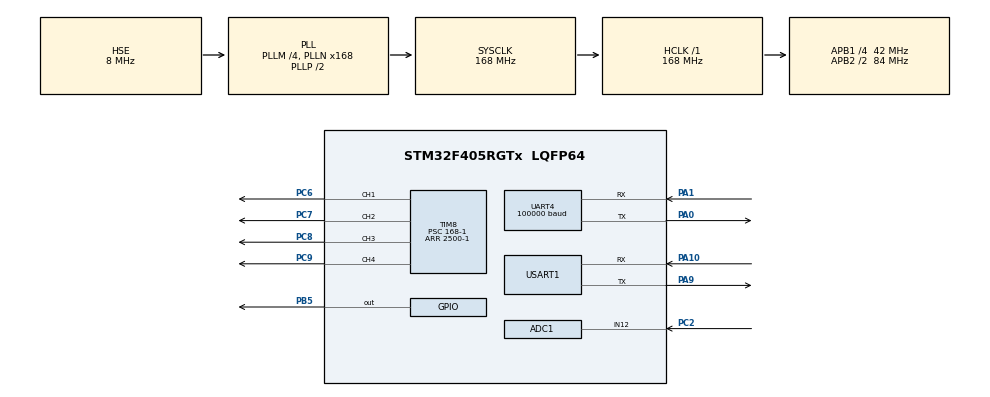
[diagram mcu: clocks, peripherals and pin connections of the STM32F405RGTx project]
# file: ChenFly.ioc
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ADC1.Channel-5\#ChannelRegularConversion=ADC_CHANNEL_12
ADC1.NbrOfConversionFlag=1
ADC1.Rank-5\#ChannelRegularConversion=1
ADC1.SamplingTime-5\#ChannelRegularConversion=ADC_SAMPLETIME_3CYCLES
ADC1.master=1
Mcu.Family=STM32F4
Mcu.Name=STM32F405RGTx
Mcu.Package=LQFP64
NVIC.PriorityGroup=NVIC_PRIORITYGROUP_4
NVIC.UART4_IRQn=true\:0\:0\:false\:false\:true\:true\:true
NVIC.USART1_IRQn=true\:0\:0\:false\:false\:true\:true\:true
PA0-WKUP.GPIO_PuPd=GPIO_NOPULL
PA0-WKUP.Mode=Asynchronous
PA0-WKUP.Signal=UART4_TX
PA1.GPIO_PuPd=GPIO_PULLUP
PA1.Mode=Asynchronous
PA1.Signal=UART4_RX
PA10.GPIO_PuPd=GPIO_PULLUP
PA10.Mode=Asynchronous
PA10.Signal=USART1_RX
PA13.Mode=Serial_Wire
PA13.Signal=SYS_JTMS-SWDIO
PA14.Mode=Serial_Wire
PA14.Signal=SYS_JTCK-SWCLK
PA9.Mode=Asynchronous
PA9.Signal=USART1_TX
PB5.Signal=GPIO_Output
PC2.Signal=ADCx_IN12
PC6.Signal=S_TIM8_CH1
PC7.Signal=S_TIM8_CH2
PC8.Signal=S_TIM8_CH3
PC9.Signal=S_TIM8_CH4
PH0-OSC_IN.Mode=HSE-External-Oscillator
PH0-OSC_IN.Signal=RCC_OSC_IN
PH1-OSC_OUT.Mode=HSE-External-Oscillator
PH1-OSC_OUT.Signal=RCC_OSC_OUT
ProjectManager.HeapSize=0x200
ProjectManager.StackSize=0x400
ProjectManager.TargetToolchain=MDK-ARM V5.32
RCC.48MHZClocksFreq_Value=84000000
RCC.AHBFreq_Value=168000000
RCC.APB1CLKDivider=RCC_HCLK_DIV4
RCC.APB1Freq_Value=42000000
RCC.APB1TimFreq_Value=84000000
RCC.APB2CLKDivider=RCC_HCLK_DIV2
RCC.APB2Freq_Value=84000000
RCC.APB2TimFreq_Value=168000000
RCC.CortexFreq_Value=168000000
RCC.HCLKFreq_Value=168000000
RCC.HSE_VALUE=8000000
RCC.HSI_VALUE=16000000
RCC.LSE_VALUE=32768
RCC.PLLM=4
RCC.PLLN=168
RCC.PLLSourceVirtual=RCC_PLLSOURCE_HSE
RCC.SYSCLKFreq_VALUE=168000000
RCC.SYSCLKSource=RCC_SYSCLKSOURCE_PLLCLK
RCC.VCOOutputFreq_Value=336000000
SH.ADCx_IN12.0=ADC1_IN12,IN12
SH.S_TIM8_CH1.0=TIM8_CH1,PWM Generation1 CH1
SH.S_TIM8_CH2.0=TIM8_CH2,PWM Generation2 CH2
SH.S_TIM8_CH3.0=TIM8_CH3,PWM Generation3 CH3
SH.S_TIM8_CH4.0=TIM8_CH4,PWM Generation4 CH4
TIM8.Channel-PWM\ Generation1\ CH1=TIM_CHANNEL_1
TIM8.Channel-PWM\ Generation2\ CH2=TIM_CHANNEL_2
TIM8.Channel-PWM\ Generation3\ CH3=TIM_CHANNEL_3
TIM8.Channel-PWM\ Generation4\ CH4=TIM_CHANNEL_4
TIM8.Period=2500-1
TIM8.Prescaler=168-1
UART4.BaudRate=100000
UART4.Parity=PARITY_EVEN
UART4.StopBits=UART_STOPBITS_2
UART4.VirtualMode=Asynchronous
UART4.WordLength=WORDLENGTH_9B
USART1.VirtualMode=VM_ASYNC
VP_TIM8_VS_ClockSourceINT.Mode=Internal
board=custom

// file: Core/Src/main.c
/* USER CODE BEGIN Header */
/**
  ******************************************************************************
  * @file           : main.c
  * @brief          : Main program body
  ******************************************************************************
  * @attention
  *
  * Copyright (c) 2023 STMicroelectronics.
  * All rights reserved.
  *
  * This software is licensed under terms that can be found in the LICENSE file
  * in the root directory of this software component.
  * If no LICENSE file comes with this software, it is provided AS-IS.
  *
  ******************************************************************************
  */
/* USER CODE END Header */
#include "main.h"
#include "adc.h"
#include "tim.h"
#include "usart.h"
#include "gpio.h"

/* USER CODE BEGIN Includes */
#include "scheduler.h"
#include "motor.h"
/* USER CODE END Includes */

void SystemClock_Config(void);

/* USER CODE BEGIN 0 */
uint8_t rx_data1[128] = {0x00};
uint8_t rx_size1 = 0;
uint8_t data_size1 = 0;
uint8_t rx_data4[128] = {0x00};
uint8_t rx_size4 = 0;

extern uint16_t motorA_speed;
extern uint16_t motorB_speed;
extern uint16_t motorC_speed;
extern uint16_t motorD_speed;
extern uint8_t sbus_original_data[25];
/* USER CODE END 0 */

int main(void)
{

  /* MCU Configuration--------------------------------------------------------*/

  /* Reset of all peripherals, Initializes the Flash interface and the Systick. */
  HAL_Init();

  /* Configure the system clock */
  SystemClock_Config();

  /* Initialize all configured peripherals */
  MX_GPIO_Init();
  MX_USART1_UART_Init();
  MX_ADC1_Init();
  MX_UART4_Init();
  MX_TIM8_Init();
  /* USER CODE BEGIN 2 */
  HAL_UART_Receive_IT(&huart1, rx_data1, 1);
  HAL_UART_Receive_IT(&huart4, rx_data4, 1);
  Scheduler_init();
  motor_init();
  /* USER CODE END 2 */

  /* Infinite loop */
  /* USER CODE BEGIN WHILE */
  while (1)
  {
	  Scheduler_run();
    /* USER CODE END WHILE */

  }
}

void SystemClock_Config(void)
{
  RCC_OscInitTypeDef RCC_OscInitStruct = {0};
  RCC_ClkInitTypeDef RCC_ClkInitStruct = {0};

  /** Configure the main internal regulator output voltage
  */
  __HAL_RCC_PWR_CLK_ENABLE();
  __HAL_PWR_VOLTAGESCALING_CONFIG(PWR_REGULATOR_VOLTAGE_SCALE1);
  /** Initializes the RCC Oscillators according to the specified parameters
  * in the RCC_OscInitTypeDef structure.
  */
  RCC_OscInitStruct.OscillatorType = RCC_OSCILLATORTYPE_HSE;
  RCC_OscInitStruct.HSEState = RCC_HSE_ON;
  RCC_OscInitStruct.PLL.PLLState = RCC_PLL_ON;
  RCC_OscInitStruct.PLL.PLLSource = RCC_PLLSOURCE_HSE;
  RCC_OscInitStruct.PLL.PLLM = 4;
  RCC_OscInitStruct.PLL.PLLN = 168;
  RCC_OscInitStruct.PLL.PLLP = RCC_PLLP_DIV2;
  RCC_OscInitStruct.PLL.PLLQ = 4;
  if (HAL_RCC_OscConfig(&RCC_OscInitStruct) != HAL_OK)
  {
    Error_Handler();
  }
  /** Initializes the CPU, AHB and APB buses clocks
  */
  RCC_ClkInitStruct.ClockType = RCC_CLOCKTYPE_HCLK|RCC_CLOCKTYPE_SYSCLK
                              |RCC_CLOCKTYPE_PCLK1|RCC_CLOCKTYPE_PCLK2;
  RCC_ClkInitStruct.SYSCLKSource = RCC_SYSCLKSOURCE_PLLCLK;
  RCC_ClkInitStruct.AHBCLKDivider = RCC_SYSCLK_DIV1;
  RCC_ClkInitStruct.APB1CLKDivider = RCC_HCLK_DIV4;
  RCC_ClkInitStruct.APB2CLKDivider = RCC_HCLK_DIV2;

  if (HAL_RCC_ClockConfig(&RCC_ClkInitStruct, FLASH_LATENCY_5) != HAL_OK)
  {
    Error_Handler();
  }
}

/* USER CODE BEGIN 4 */
void HAL_UART_RxCpltCallback(UART_HandleTypeDef *huart)
{
  if (huart->Instance == USART1)
  {
	if(rx_size1 == 0)
	{
		if(rx_data1[rx_size1] == 0xFE)
		  rx_size1++;
		else
		  rx_size1 = 0;
	}
	else if(rx_size1 == 1)
	{
		if(rx_data1[rx_size1] == 0xEF)
		  rx_size1++;
		else
		  rx_size1 = 0;
	}
	else if(rx_size1 == 2)
	{
		data_size1 = rx_data1[rx_size1];
		rx_size1++;
	}
	else
	{
		rx_size1++;
		if(rx_size1 == data_size1)
		{
			if(rx_data1[3] == 0x01)
			{
				motorA_speed = 1000+10*rx_data1[4];
				motorB_speed = 1000+10*rx_data1[5];
				motorC_speed = 1000+10*rx_data1[6];
				motorD_speed = 1000+10*rx_data1[7];
			}

			rx_size1 = 0;
		}
	}
	HAL_UART_Receive_IT(&huart1, rx_data1+rx_size1, 1);
  }
  else if (huart->Instance == UART4)
  {
    if(rx_size4 == 0)
	{
	  if(rx_data4[rx_size4] == 0x0F)
		  rx_size4++;
	  else
		  rx_size4 = 0;
	}
	else
	{
		rx_size4++;
		if(rx_size4 == 25)
		{
			for(int i = 0; i < 25; i++)
			{
				sbus_original_data[i] = rx_data4[i];
			}

			rx_size4 = 0;
		}
	}
    HAL_UART_Receive_IT(&huart4, rx_data4+rx_size4, 1);
  }
  else
  {

  }
}
/* USER CODE END 4 */

void Error_Handler(void)
{
  __disable_irq();
  while (1)
  {
  }
}
